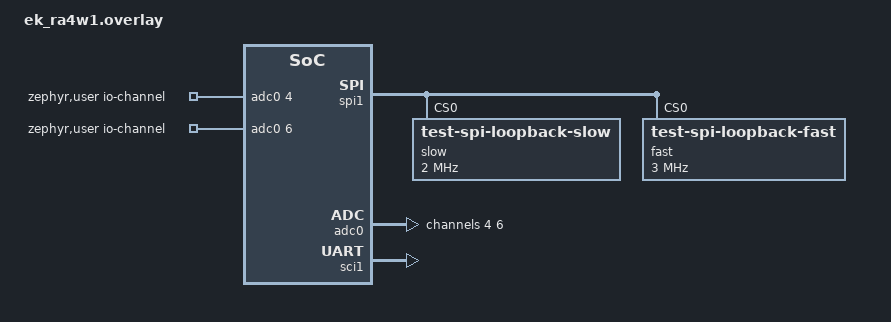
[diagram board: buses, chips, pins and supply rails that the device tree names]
/*
 * Copyright (c) 2025 Renesas Electronics Corporation
 *
 * SPDX-License-Identifier: Apache-2.0
 */

tst_dma0: &dma0 {};

&dma0 {
	status = "okay";
	interrupts = <31 1>, <30 1>, <29 1>;
	interrupt-names = "ch0", "ch1", "ch2";
};

&spi1 {
	rx-dtc;
	tx-dtc;
	slow@0 {
		compatible = "test-spi-loopback-slow";
		reg = <0>;
		spi-max-frequency = <2000000>;
	};
	fast@0 {
		compatible = "test-spi-loopback-fast";
		reg = <0>;
		spi-max-frequency = <3000000>;
	};
};

/ {
	zephyr,user {
		io-channels = <&adc0 4>, <&adc0 6>;
	};
};

&adc0 {
	status = "okay";
	#address-cells = <1>;
	#size-cells = <0>;
	channel@4 {
		reg = <4>;
		zephyr,gain = "ADC_GAIN_1";
		zephyr,reference = "ADC_REF_INTERNAL";
		zephyr,resolution = <12>;
		zephyr,acquisition-time = <ADC_ACQ_TIME_DEFAULT>;
		zephyr,vref-mv = <3300>;
	};
	channel@6 {
		reg = <6>;
		zephyr,gain = "ADC_GAIN_1";
		zephyr,reference = "ADC_REF_INTERNAL";
		zephyr,resolution = <12>;
		zephyr,acquisition-time = <ADC_ACQ_TIME_DEFAULT>;
		zephyr,vref-mv = <3300>;
	};
};

&pinctrl {
	sci1_default: sci1_default {
		group1 {
			psels = <RA_PSEL(RA_PSEL_SCI_1, 2, 13)>,
				<RA_PSEL(RA_PSEL_SCI_1, 2, 12)>;
		};
	};
};

&sci1 {
	pinctrl-0 = <&sci1_default>;
	pinctrl-names = "default";
	status = "okay";
	dut: uart {
		current-speed = <115200>;
		status = "okay";
	};
};
